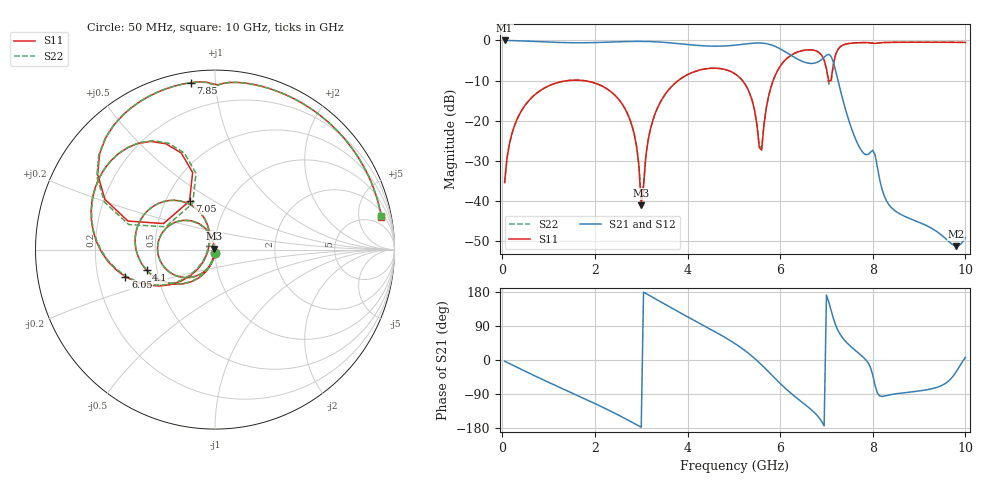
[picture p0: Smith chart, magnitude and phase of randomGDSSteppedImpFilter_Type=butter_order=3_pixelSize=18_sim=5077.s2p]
! freq	dB(S11)	phase(S11)	dB(S12)	phase(S12)
!  dB(S21)	phase(S21)	dB(S22)	phase(S22)
!S-par simulation data
#  GHz  S  DB  R 50
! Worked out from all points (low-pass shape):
!   200 points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, 50 MHz to 10 GHz, reference 50 ohm
!   highest |S21| = -0.01 dB at 50 MHz (marker M1); lowest = -51.3 dB at 9.8 GHz (marker M2)
!   |S21| within 3 dB of the highest: start of sweep to 6.135 GHz
!   lowest |S11| = -41.1 dB at 3 GHz (marker M3), VSWR 1.02, Z = 49.4 + j0.6 ohm
!   |S11| at or under -10 dB: start of sweep to 1.422 GHz; 1.746 GHz to 3.799 GHz (2.054 GHz wide, 74.1 % of centre); 5.184 GHz to 5.849 GHz (664.9 MHz wide, 12.1 % of centre) (the widest 3 of 4)
!   |S22| runs from -39.5 to -0.4 dB; largest |S21 - S12| = 0
!   S11 on the Smith chart (normalised r, x): 50 MHz: 1.00, -0.03; 4.1 GHz: 0.44, -0.12; 6.05 GHz: 0.32, -0.13; 7.05 GHz: 0.66, +0.39; 7.85 GHz: 0.05, +0.86; 10 GHz: 2.73, +9.38
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0.05  -35.45 -92.8  -0.01 -3.1  -0.01 -3.1  -35.45 -92.7
0.2  -23.57 -102.4  -0.04 -12.1  -0.04 -12.1  -23.57 -102.3
0.5  -16.05 -120.5  -0.15 -30.0  -0.15 -30.0  -16.05 -120.5
1.75  -10.01 168.8  -0.58 -100.7  -0.58 -100.7  -10.00 169.0
2.7  -18.19 113.4  -0.27 -157.6  -0.27 -157.6  -18.17 114.6
2.9  -26.43 103.6  -0.23 -170.8  -0.23 -170.8  -26.36 106.8
3  -41.14 136.1  -0.24 -177.6  -0.24 -177.6  -39.51 144.1
3.15  -24.82 -102.9  -0.27 172.2  -0.27 172.2  -24.79 -105.8
3.4  -15.67 -117.2  -0.40 154.9  -0.40 154.9  -15.67 -118.2
4.1  -8.00 -163.2  -1.13 107.4  -1.13 107.4  -8.00 -163.5
5.05  -8.52 133.2  -1.16 41.3  -1.16 41.3  -8.52 133.2
5.35  -13.43 110.8  -0.76 14.4  -0.76 14.4  -13.41 111.2
5.6  -27.35 -161.8  -0.66 -12.9  -0.66 -12.9  -26.83 -164.2
5.75  -13.93 -133.3  -0.92 -31.1  -0.92 -31.1  -13.90 -134.6
6.05  -5.66 -163.2  -2.42 -67.6  -2.42 -67.6  -5.66 -163.9
6.7  -2.40 135.6  -5.73 -134.2  -5.73 -134.2  -2.41 134.8
7.05  -10.31 117.7  -3.46 153.0  -3.46 153.0  -10.86 115.7
7.25  -2.19 147.3  -10.00 77.6  -10.00 77.6  -2.23 148.3
7.85  -0.54 98.3  -28.48 0.6  -28.48 0.6  -0.54 98.4
8.35  -0.49 75.9  -40.98 -92.3  -40.98 -92.3  -0.49 76.0
9.8  -0.48 18.5  -51.30 -31.2  -51.30 -31.2  -0.47 18.6
10  -0.49 11.2  -49.16 6.9  -49.16 6.9  -0.49 11.4
